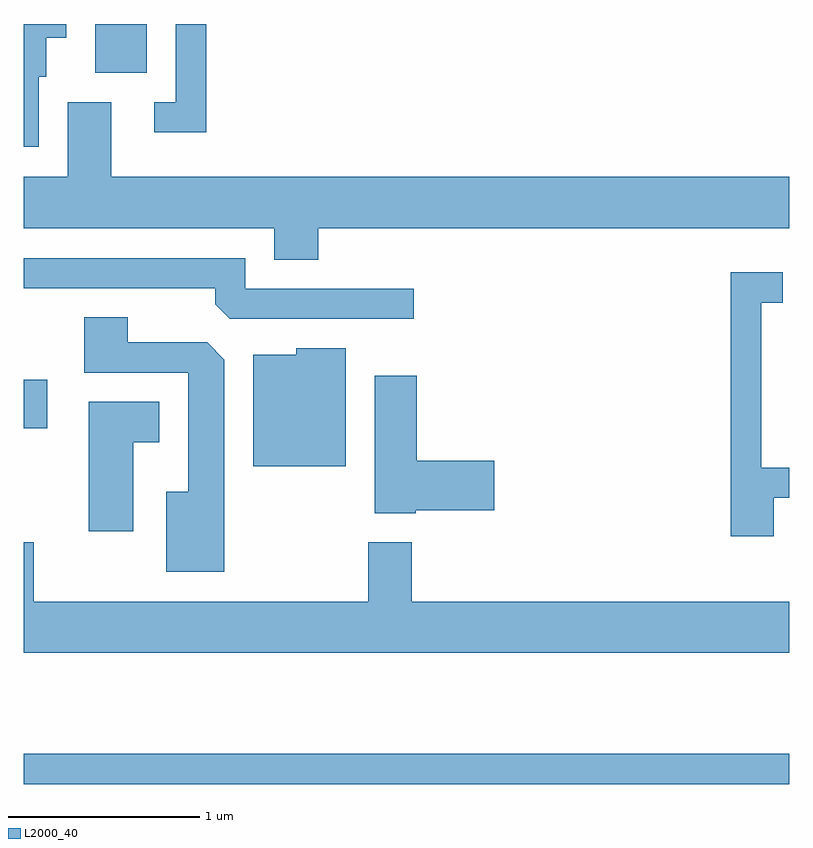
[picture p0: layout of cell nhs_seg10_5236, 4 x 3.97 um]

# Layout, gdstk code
import gdstk
lib = gdstk.Library(unit=1e-6, precision=1e-09)
def R(c, l, rs):  # rectangles x0, y0, x1, y1
    for r in rs: c.add(gdstk.rectangle(r[:2], r[2:], *l))
def P(c, l, *ps):  # polygons
    for p in ps: c.add(gdstk.Polygon(p, *l))
L2000_40 = (2000, 40)

nhs_seg10_5236 = lib.new_cell('nhs_seg10_5236')
R(nhs_seg10_5236, L2000_40, [(339.611,2126.551,343.611,2126.709), (339.611,2128.411,339.734,2128.664), (339.986,2130.266,340.254,2130.522)])
P(nhs_seg10_5236, L2000_40, [(340.564,2130.522),(340.406,2130.522),(340.406,2130.114),(340.293,2130.114),(340.293,2129.956),(340.564,2129.956)],
  [(339.689,2130.246),(339.729,2130.246),(339.729,2130.451),(339.834,2130.451),(339.834,2130.522),(339.611,2130.522),(339.611,2129.881),(339.689,2129.881)],
  [(341.149,2129.456),(343.611,2129.456),(343.611,2129.724),(340.069,2129.724),(340.069,2130.114),(339.841,2130.114),(339.841,2129.724),(339.611,2129.724),(339.611,2129.456),(340.921,2129.456),(340.921,2129.291),(341.149,2129.291)],
  [(341.648,2129.139),(340.769,2129.139),(340.769,2129.299),(339.611,2129.299),(339.611,2129.141),(340.611,2129.141),(340.611,2129.057),(340.687,2128.981),(341.648,2128.981)],
  [(343.529,2128.046),(343.611,2128.046),(343.611,2128.204),(343.464,2128.204),(343.464,2129.066),(343.578,2129.066),(343.578,2129.224),(343.306,2129.224),(343.306,2127.846),(343.529,2127.846)],
  [(340.659,2128.769),(340.569,2128.859),(340.154,2128.859),(340.154,2128.989),(339.926,2128.989),(339.926,2128.701),(340.471,2128.701),(340.471,2128.079),(340.356,2128.079),(340.356,2127.661),(340.659,2127.661)],
  [(341.294,2128.829),(341.036,2128.829),(341.036,2128.794),(340.811,2128.794),(340.811,2128.211),(341.294,2128.211)],
  [(341.66,2127.981),(342.069,2127.981),(342.069,2128.239),(341.664,2128.239),(341.664,2128.684),(341.446,2128.684),(341.446,2127.966),(341.66,2127.966)],
  [(340.184,2128.336),(340.319,2128.336),(340.319,2128.549),(339.951,2128.549),(339.951,2127.871),(340.184,2127.871)],
  [(343.611,2127.504),(341.639,2127.504),(341.639,2127.814),(341.411,2127.814),(341.411,2127.504),(339.664,2127.504),(339.664,2127.814),(339.611,2127.814),(339.611,2127.236),(343.611,2127.236)])

lib.write_gds('nhs_seg10_5236.gds')
